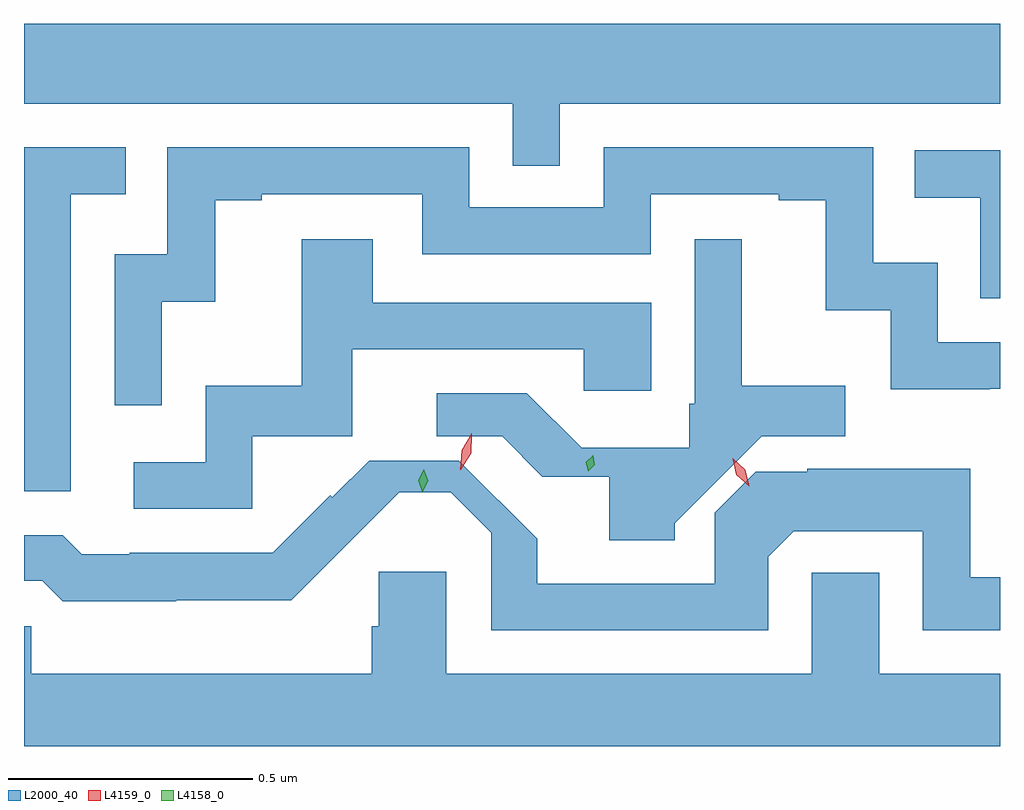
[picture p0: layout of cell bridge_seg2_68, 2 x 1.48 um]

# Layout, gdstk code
import gdstk
lib = gdstk.Library(unit=1e-6, precision=1e-09)
def P(c, l, *ps):  # polygons
    for p in ps: c.add(gdstk.Polygon(p, *l))
L2000_40 = (2000, 40)
L4158_0 = (4158, 0)
L4159_0 = (4159, 0)

bridge_seg2_68 = lib.new_cell('bridge_seg2_68')
P(bridge_seg2_68, L2000_40, [(998.766,609.008),(999.668,609.008),(999.668,609.172),(997.668,609.172),(997.668,609.008),(998.67,609.008),(998.67,608.881),(998.766,608.881)],
  [(997.95,608.603),(998.06,608.603),(998.06,608.811),(998.155,608.811),(998.155,608.823),(998.484,608.823),(998.484,608.7),(998.952,608.7),(998.952,608.823),(999.215,608.823),(999.215,608.811),(999.311,608.811),(999.311,608.585),(999.444,608.585),(999.444,608.423),(999.647,608.423),(999.647,608.424),(999.668,608.424),(999.668,608.52),(999.54,608.52),(999.54,608.683),(999.408,608.683),(999.408,608.919),(998.856,608.919),(998.856,608.796),(998.58,608.796),(998.58,608.919),(997.962,608.919),(997.962,608.7),(997.854,608.7),(997.854,608.391),(997.95,608.391)],
  [(997.764,608.823),(997.877,608.823),(997.877,608.919),(997.668,608.919),(997.668,608.214),(997.764,608.214)],
  [(999.668,608.913),(999.493,608.913),(999.493,608.816),(999.628,608.816),(999.628,608.61),(999.668,608.61)],
  [(999.002,608.149),(999.18,608.327),(999.351,608.327),(999.351,608.43),(999.139,608.43),(999.139,608.731),(999.042,608.731),(999.042,608.394),(999.031,608.394),(999.031,608.303),(998.811,608.303),(998.698,608.415),(998.514,608.415),(998.514,608.327),(998.648,608.327),(998.73,608.244),(998.867,608.244),(998.867,608.114),(999.002,608.114)],
  [(998.136,608.327),(998.341,608.327),(998.341,608.505),(998.815,608.505),(998.815,608.42),(998.953,608.42),(998.953,608.601),(998.383,608.601),(998.383,608.731),(998.237,608.731),(998.237,608.43),(998.04,608.43),(998.04,608.274),(997.893,608.274),(997.893,608.178),(998.136,608.178)],
  [(999.193,608.08),(999.245,608.132),(999.51,608.132),(999.51,607.929),(999.668,607.929),(999.668,608.038),(999.607,608.038),(999.607,608.26),(999.273,608.26),(999.273,608.254),(999.167,608.254),(999.083,608.17),(999.083,608.025),(998.72,608.025),(998.72,608.117),(998.559,608.277),(998.375,608.277),(998.3,608.202),(998.296,608.206),(998.178,608.088),(997.885,608.088),(997.885,608.085),(997.786,608.085),(997.747,608.124),(997.668,608.124),(997.668,608.031),(997.705,608.031),(997.747,607.989),(997.98,607.989),(997.98,607.991),(998.216,607.991),(998.437,608.212),(998.542,608.212),(998.625,608.129),(998.625,607.929),(999.193,607.929)],
  [(999.668,607.84),(999.421,607.84),(999.421,608.047),(999.282,608.047),(999.282,607.84),(998.533,607.84),(998.533,608.049),(998.395,608.049),(998.395,607.938),(998.381,607.938),(998.381,607.84),(997.683,607.84),(997.683,607.938),(997.668,607.938),(997.668,607.692),(999.668,607.692)])
P(bridge_seg2_68, L4158_0, [(998.824,608.255),(998.824,608.255),(998.819,608.274),(998.833,608.287),(998.833,608.288),(998.834,608.287),(998.838,608.269),(998.824,608.255)],
  [(998.484,608.213),(998.484,608.213),(998.476,608.237),(998.487,608.259),(998.487,608.259),(998.487,608.259),(998.496,608.236),(998.485,608.213)])
P(bridge_seg2_68, L4159_0, [(999.154,608.225),(999.154,608.225),(999.128,608.248),(999.12,608.281),(999.12,608.282),(999.12,608.282),(999.146,608.258),(999.154,608.225)],
  [(998.562,608.258),(998.565,608.298),(998.586,608.333),(998.586,608.333),(998.586,608.332),(998.584,608.292),(998.563,608.258),(998.563,608.258)])

lib.write_gds('bridge_seg2_68.gds')
